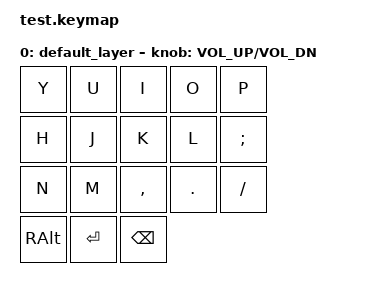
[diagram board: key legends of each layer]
#include <behaviors.dtsi>
#include <dt-bindings/zmk/keys.h>
#include <dt-bindings/zmk/bt.h>

/ {
    keymap {
        compatible = "zmk,keymap";

        default_layer {
            bindings = <
                &kp Y    &kp U    &kp I     &kp O   &kp P
                &kp H    &kp J    &kp K     &kp L   &kp SEMI
                &kp N    &kp M    &kp COMMA &kp DOT &kp SLASH
                &kp RALT &kp RET  &kp BSPC
            >;

            sensor-bindings = <&inc_dec_kp C_VOL_UP C_VOL_DN>;
        };
    };
};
